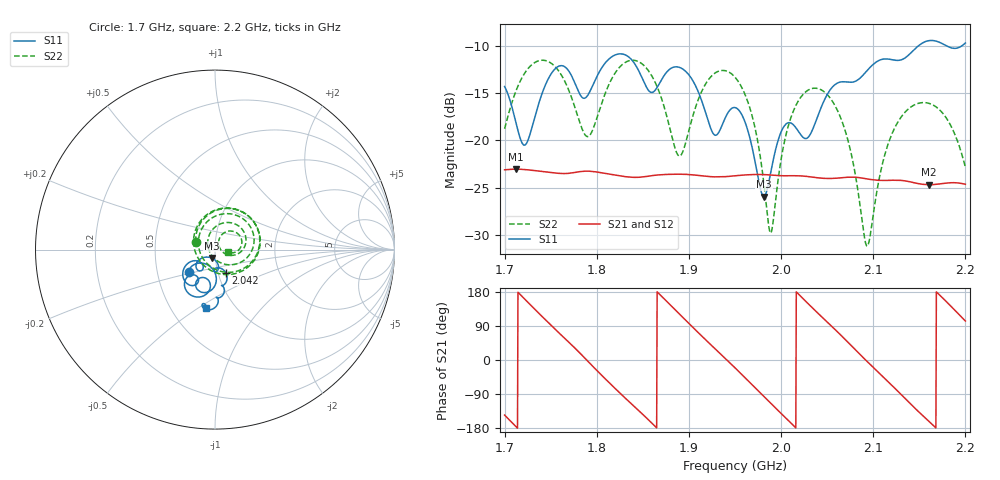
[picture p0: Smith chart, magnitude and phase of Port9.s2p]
# Hz S RI R 50
! CMT, CMT808U, 21440046, 21.4.3/4
! Date: 11/12/2025 3:13:09 PM
! Data: Format (Calibration Info)
! Freq	S11:Re/Im(F2)	S41:Re/Im(F2)	S14:Re/Im(F2)	S44:Re/Im(F2)
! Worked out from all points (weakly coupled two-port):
!   1001 points, 1.7 GHz to 2.2 GHz, reference 50 ohm
!   highest |S21| = -23.03 dB at 1.712 GHz (marker M1); lowest = -24.7 dB at 2.16 GHz (marker M2)
!   lowest |S11| = -25.9 dB at 1.982 GHz (marker M3), VSWR 1.11, Z = 48 - j4.53 ohm
!   |S11| at or under -10 dB: start of sweep to 2.149 GHz; 2.18 GHz to 2.196 GHz (16.23 MHz wide, 0.742 % of centre)
!   |S22| runs from -31.2 to -11.5 dB; largest |S21 - S12| = 4.7e-05
!   S11 on the Smith chart (normalised r, x): 1.7 GHz: 0.72, -0.19; 2.042 GHz: 1.09, -0.28; 2.2 GHz: 0.74, -0.54
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1.7e9  -0.1467 -0.1252  -0.0576 -0.0398  -0.0576 -0.0398  -0.1072 0.0424
1.712e9  -0.0996 -0.0772  -0.0703 -0.00624  -0.0703 -0.00624  -0.0645 0.1693
1.7235e9  -0.032 -0.0906  -0.0643 0.0279  -0.0643 0.028  0.0485 0.2283
1.75e9  -0.0168 -0.2226  -0.00297 0.0677  -0.00297 0.0677  0.2515 0.054
1.7835e9  -0.0695 -0.1553  0.0666 0.0164  0.0666 0.0164  -0.0277 -0.1139
1.8025e9  -0.0316 -0.2271  0.0566 -0.0374  0.0566 -0.0374  -0.1155 0.0844
1.824e9  -0.1222 -0.2595  0.00609 -0.0649  0.0061 -0.0649  0.0683 0.2319
1.8465e9  -0.1614 -0.1617  -0.0458 -0.0446  -0.0458 -0.0446  0.2472 0.0783
1.867e9  -0.0918 -0.1735  -0.0656 0.0043  -0.0656 0.0043  0.1477 -0.1109
1.89e9  -0.1679 -0.1761  -0.0339 0.057  -0.0339 0.057  -0.0738 -0.0374
1.9275e9  -0.0803 -0.0711  0.0547 0.0337  0.0547 0.0337  0.122 0.19
1.95e9  -0.0985 -0.1122  0.0609 -0.0229  0.0609 -0.0229  0.2148 0.0235
1.9815e9  -0.0181 -0.0471  -0.00758 -0.0656  -0.00758 -0.0656  0.00584 -0.0579
1.9895e9  0.0105 -0.0699  -0.0287 -0.059  -0.0287 -0.059  -0.032 -0.00765
2.008e9  0.00355 -0.1241  -0.0611 -0.0224  -0.0611 -0.0224  -0.0059 0.12
2.0335e9  0.0366 -0.1061  -0.0481 0.0423  -0.0482 0.0423  0.1442 0.1212
2.0415e9  0.0595 -0.1282  -0.0316 0.0549  -0.0316 0.0549  0.1682 0.0821
2.0695e9  0.0385 -0.2006  0.0371 0.0519  0.0371 0.0519  0.1088 -0.0304
2.093e9  0.0522 -0.2274  0.0626 -0.00331  0.0626 -0.00331  0.026 0.00944
2.117e9  0.0115 -0.269  0.0316 -0.0528  0.0316 -0.0528  0.0436 0.0883
2.1605e9  -0.0326 -0.3358  -0.0555 -0.018  -0.0555 -0.0181  0.1491 0.0498
2.2e9  -0.0486 -0.3242  -0.0131 0.0572  -0.0131 0.0572  0.0707 -0.0143
